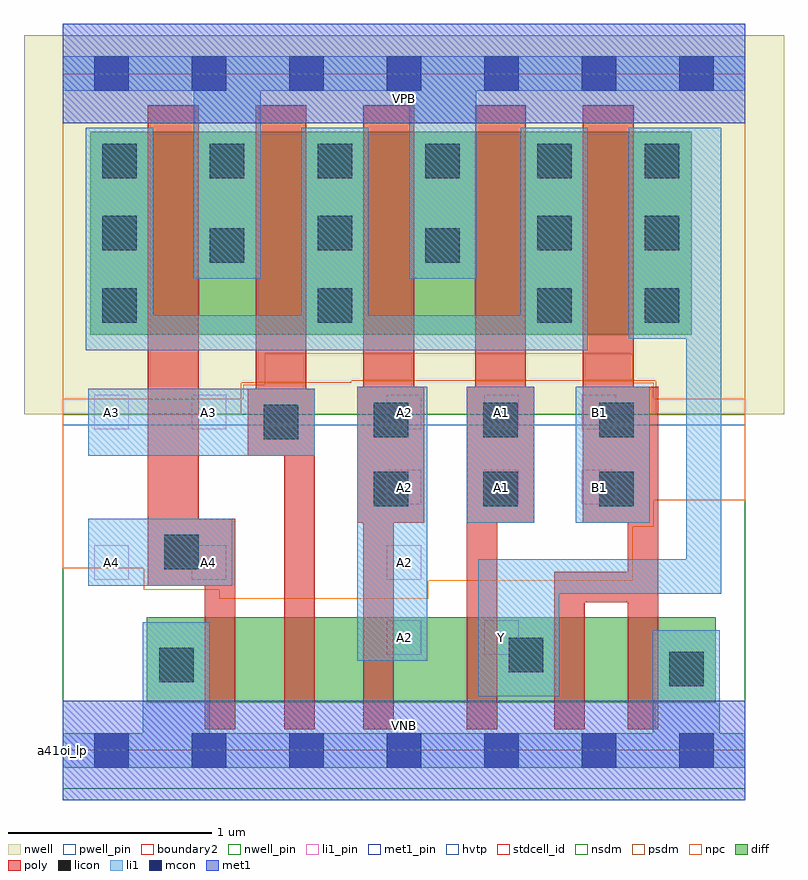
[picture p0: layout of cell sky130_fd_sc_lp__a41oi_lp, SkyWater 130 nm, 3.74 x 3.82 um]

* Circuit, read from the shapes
.subckt sky130_fd_sc_lp__a41oi_lp A1 A2 A3 A4 B1 VGND VNB VPB VPWR Y
XM1 n1 A4 VGND VNB sky130_fd_pr__nfet_01v8 w=0.42 l=0.15
XM2 n2 A3 n1 VNB sky130_fd_pr__nfet_01v8 w=0.42 l=0.15
XM3 n3 A2 n2 VNB sky130_fd_pr__nfet_01v8 w=0.42 l=0.15
XM4 Y A1 n3 VNB sky130_fd_pr__nfet_01v8 w=0.42 l=0.15
XM5 n4 B1 Y VNB sky130_fd_pr__nfet_01v8 w=0.42 l=0.15
XM6 VGND B1 n4 VNB sky130_fd_pr__nfet_01v8 w=0.42 l=0.15
XM7 VPWR A4 n5 VPB sky130_fd_pr__pfet_01v8_hvt w=1 l=0.25
XM8 n5 A3 VPWR VPB sky130_fd_pr__pfet_01v8_hvt w=1 l=0.25
XM9 VPWR A2 n5 VPB sky130_fd_pr__pfet_01v8_hvt w=1 l=0.25
XM10 n5 A1 VPWR VPB sky130_fd_pr__pfet_01v8_hvt w=1 l=0.25
XM11 Y B1 n5 VPB sky130_fd_pr__pfet_01v8_hvt w=1 l=0.25
.ends

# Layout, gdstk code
import gdstk
lib = gdstk.Library(unit=1e-6, precision=1e-09)
def R(c, l, rs):  # rectangles x0, y0, x1, y1
    for r in rs: c.add(gdstk.rectangle(r[:2], r[2:], *l))
def A(c, l, x, y, w, h, nx, ny, dx, dy):  # array of equal rectangles
    R(c, l, [(x+i*dx, y+j*dy, x+i*dx+w, y+j*dy+h) for i in range(nx) for j in range(ny)])
def P(c, l, *ps):  # polygons
    for p in ps: c.add(gdstk.Polygon(p, *l))
nwell_pin = (64, 16)
nwell = (64, 20)
diff = (65, 20)
poly = (66, 20)
licon = (66, 44)
li1_pin = (67, 16)
li1 = (67, 20)
mcon = (67, 44)
met1_pin = (68, 16)
met1 = (68, 20)
hvtp = (78, 44)
stdcell_id = (81, 4)
nsdm = (93, 44)
psdm = (94, 20)
npc = (95, 20)
pwell_pin = (122, 16)
boundary2 = (236, 0)

sky130_fd_sc_lp__a41oi_l = lib.new_cell('sky130_fd_sc_lp__a41oi_lp')
R(sky130_fd_sc_lp__a41oi_l, nwell_pin, [(0,3.085,3.36,3.33)])
R(sky130_fd_sc_lp__a41oi_l, nwell, [(-0.19,1.655,3.55,3.52)])
R(sky130_fd_sc_lp__a41oi_l, diff, [(0.415,0.235,3.215,0.655), (0.135,2.045,3.095,3.045)])
P(sky130_fd_sc_lp__a41oi_l, poly, [(0.85,1.14),(0.67,1.14),(0.67,3.175),(0.42,3.175),(0.42,0.81),(0.7,0.81),(0.7,0.105),(0.85,0.105)],
  [(1.24,1.78),(1.2,1.78),(1.2,3.175),(0.95,3.175),(0.95,1.78),(0.91,1.78),(0.91,1.45),(1.09,1.45),(1.09,0.105),(1.24,0.105)],
  [(1.78,1.79),(1.73,1.79),(1.73,3.175),(1.48,3.175),(1.48,1.79),(1.45,1.79),(1.45,1.12),(1.48,1.12),(1.48,0.105),(1.63,0.105),(1.63,1.12),(1.78,1.12)],
  [(2.32,1.79),(2.28,1.79),(2.28,3.175),(2.03,3.175),(2.03,1.79),(1.99,1.79),(1.99,0.105),(2.14,0.105),(2.14,1.12),(2.32,1.12)],
  [(2.93,1.79),(2.81,1.79),(2.81,3.175),(2.56,3.175),(2.56,1.12),(2.78,1.12),(2.78,0.88),(2.42,0.88),(2.42,0.105),(2.57,0.105),(2.57,0.73),(2.78,0.73),(2.78,0.105),(2.93,0.105)])
A(sky130_fd_sc_lp__a41oi_l, licon, 2.335, 2.105, 0.17, 0.17, 1, 3, 0, 0.355)
A(sky130_fd_sc_lp__a41oi_l, licon, 2.865, 2.105, 0.17, 0.17, 1, 3, 0, 0.355)
A(sky130_fd_sc_lp__a41oi_l, licon, 0.195, 2.815, 0.17, 0.17, 4, 1, 0.53, 0)
R(sky130_fd_sc_lp__a41oi_l, licon, [(2.985,0.315,3.155,0.485), (0.475,0.335,0.645,0.505), (2.195,0.385,2.365,0.555), (0.5,0.89,0.67,1.06), (1.53,1.2,1.7,1.37), (2.07,1.2,2.24,1.37), (2.64,1.2,2.81,1.37), (0.99,1.53,1.16,1.7), (1.53,1.54,1.7,1.71), (2.07,1.54,2.24,1.71), (2.64,1.54,2.81,1.71), (0.195,2.105,0.365,2.275), (1.255,2.105,1.425,2.275), (0.725,2.4,0.895,2.57), (1.785,2.4,1.955,2.57), (0.195,2.46,0.365,2.63), (1.255,2.46,1.425,2.63)])
A(sky130_fd_sc_lp__a41oi_l, li1_pin, 1.595, 1.21, 0.17, 0.17, 3, 2, 0.48, 0.37)
R(sky130_fd_sc_lp__a41oi_l, li1_pin, [(1.595,0.47,1.765,0.64), (2.075,0.47,2.245,0.64), (0.155,0.84,0.325,1.01), (0.635,0.84,0.805,1.01), (1.595,0.84,1.765,1.01), (0.155,1.58,0.325,1.75), (0.635,1.58,0.805,1.75)])
R(sky130_fd_sc_lp__a41oi_l, li1, [(1.45,0.44,1.795,1.79), (0.125,0.81,0.835,1.14), (1.99,1.12,2.32,1.79), (2.525,1.12,2.89,1.79), (0.125,1.45,1.24,1.78)])
P(sky130_fd_sc_lp__a41oi_l, li1, [(1.705,2.32),(1.705,3.245),(0.975,3.245),(0.975,2.32),(0.645,2.32),(0.645,3.245),(0,3.245),(0,3.415),(3.36,3.415),(3.36,3.245),(2.035,3.245),(2.035,2.32)],
  [(2.905,0.085),(2.905,0.59),(3.235,0.59),(3.235,0.085),(3.36,0.085),(3.36,-0.085),(0,-0.085),(0,0.085),(0.395,0.085),(0.395,0.63),(0.725,0.63),(0.725,0.085)],
  [(2.045,0.265),(2.045,0.94),(3.07,0.94),(3.07,2.025),(2.785,2.025),(2.785,3.065),(3.24,3.065),(3.24,0.77),(2.445,0.77),(2.445,0.265)],
  [(1.175,2.14),(1.175,3.065),(1.505,3.065),(1.505,2.14),(2.255,2.14),(2.255,3.065),(2.585,3.065),(2.585,1.97),(0.115,1.97),(0.115,3.065),(0.445,3.065),(0.445,2.14)])
A(sky130_fd_sc_lp__a41oi_l, mcon, 0.155, -0.085, 0.17, 0.17, 7, 2, 0.48, 3.33)
R(sky130_fd_sc_lp__a41oi_l, met1_pin, [(0,0,3.36,0.245), (0,3.085,3.36,3.33)])
R(sky130_fd_sc_lp__a41oi_l, met1, [(0,-0.245,3.36,0.245), (0,3.085,3.36,3.575)])
R(sky130_fd_sc_lp__a41oi_l, hvtp, [(0,1.6,3.36,3.33)])
R(sky130_fd_sc_lp__a41oi_l, stdcell_id, [(0,0,3.36,3.33)])
R(sky130_fd_sc_lp__a41oi_l, nsdm, [(0,-0.19,3.36,1.655)])
P(sky130_fd_sc_lp__a41oi_l, psdm, [(3.36,3.52),(0,3.52),(0,1.655),(0.88,1.655),(0.88,1.81),(1.42,1.81),(1.42,1.82),(2.92,1.82),(2.92,1.655),(3.36,1.655)])
P(sky130_fd_sc_lp__a41oi_l, npc, [(3.36,1.73),(2.91,1.73),(2.91,1.81),(2.805,1.81),(2.805,1.955),(0.995,1.955),(0.995,1.8),(0.89,1.8),(0.89,1.73),(0,1.73),(0,0.895),(0.4,0.895),(0.4,0.79),(0.77,0.79),(0.77,0.745),(1.8,0.745),(1.8,0.835),(2.805,0.835),(2.805,1.1),(2.91,1.1),(2.91,1.23),(3.36,1.23)])
R(sky130_fd_sc_lp__a41oi_l, pwell_pin, [(0,0,3.36,0.245)])
R(sky130_fd_sc_lp__a41oi_l, boundary2, [(0,0,3.36,3.33)])
sky130_fd_sc_lp__a41oi_l.add(gdstk.Label('VNB', (1.68,0.123), layer=64, texttype=59))
sky130_fd_sc_lp__a41oi_l.add(gdstk.Label('VPB', (1.68,3.208), layer=64, texttype=5))
sky130_fd_sc_lp__a41oi_l.add(gdstk.Label('a41oi_lp', (0,0), layer=83, texttype=44))
sky130_fd_sc_lp__a41oi_l.add(gdstk.Label('VPWR', (1.68,3.208), layer=68, texttype=5))
sky130_fd_sc_lp__a41oi_l.add(gdstk.Label('VGND', (1.68,0.123), layer=68, texttype=5))
sky130_fd_sc_lp__a41oi_l.add(gdstk.Label('B1', (2.64,1.295), layer=67, texttype=5))
sky130_fd_sc_lp__a41oi_l.add(gdstk.Label('B1', (2.64,1.665), layer=67, texttype=5))
sky130_fd_sc_lp__a41oi_l.add(gdstk.Label('Y', (2.16,0.555), layer=67, texttype=5))
sky130_fd_sc_lp__a41oi_l.add(gdstk.Label('A4', (0.24,0.925), layer=67, texttype=5))
sky130_fd_sc_lp__a41oi_l.add(gdstk.Label('A4', (0.72,0.925), layer=67, texttype=5))
sky130_fd_sc_lp__a41oi_l.add(gdstk.Label('A3', (0.24,1.665), layer=67, texttype=5))
sky130_fd_sc_lp__a41oi_l.add(gdstk.Label('A3', (0.72,1.665), layer=67, texttype=5))
sky130_fd_sc_lp__a41oi_l.add(gdstk.Label('A2', (1.68,0.555), layer=67, texttype=5))
sky130_fd_sc_lp__a41oi_l.add(gdstk.Label('A2', (1.68,0.925), layer=67, texttype=5))
sky130_fd_sc_lp__a41oi_l.add(gdstk.Label('A2', (1.68,1.295), layer=67, texttype=5))
sky130_fd_sc_lp__a41oi_l.add(gdstk.Label('A2', (1.68,1.665), layer=67, texttype=5))
sky130_fd_sc_lp__a41oi_l.add(gdstk.Label('A1', (2.16,1.295), layer=67, texttype=5))
sky130_fd_sc_lp__a41oi_l.add(gdstk.Label('A1', (2.16,1.665), layer=67, texttype=5))

lib.write_gds('sky130_fd_sc_lp__a41oi_lp.gds')
